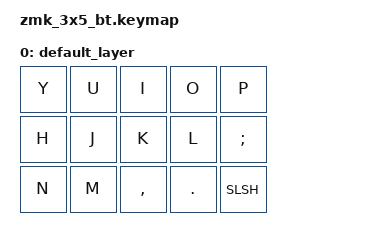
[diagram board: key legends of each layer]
/*
 * Copyright (c) 2026
 * SPDX-License-Identifier: MIT
 *
 * ZMK 3x5 Bluetooth Keyboard - User Keymap
 * (Overrides the shield default keymap in config/)
 * Single layer: YUIOP / HJKL; / NM,./
 */

#include <behaviors.dtsi>
#include <dt-bindings/zmk/keys.h>

/ {
    keymap {
        compatible = "zmk,keymap";

        default_layer {
            bindings = <
                &kp Y       &kp U       &kp I       &kp O       &kp P
                &kp H       &kp J       &kp K       &kp L       &kp SCLN
                &kp N       &kp M       &kp COMMA   &kp DOT     &kp SLSH
            >;
        };
    };
};
